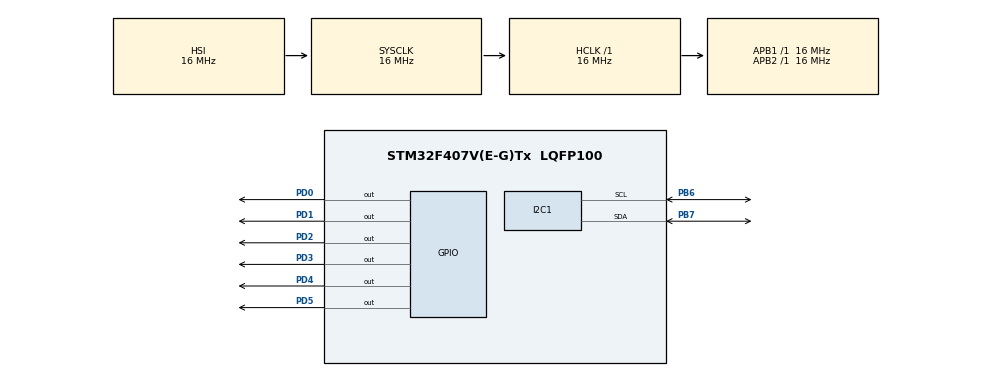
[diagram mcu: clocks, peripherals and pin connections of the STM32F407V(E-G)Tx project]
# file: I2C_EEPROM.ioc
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Mcu.Family=STM32F4
Mcu.Name=STM32F407V(E-G)Tx
Mcu.Package=LQFP100
NVIC.PriorityGroup=NVIC_PRIORITYGROUP_4
PB6.GPIO_Pu=GPIO_PULLUP
PB6.Mode=I2C
PB6.Signal=I2C1_SCL
PB7.GPIO_Pu=GPIO_PULLUP
PB7.Mode=I2C
PB7.Signal=I2C1_SDA
PD0.Signal=GPIO_Output
PD1.Signal=GPIO_Output
PD2.Signal=GPIO_Output
PD3.Signal=GPIO_Output
PD4.Signal=GPIO_Output
PD5.Signal=GPIO_Output
ProjectManager.HeapSize=0x200
ProjectManager.StackSize=0x400
ProjectManager.TargetToolchain=STM32CubeIDE
RCC.AHBFreq_Value=16000000
RCC.APB1Freq_Value=16000000
RCC.APB2Freq_Value=16000000
RCC.CortexFreq_Value=16000000
RCC.HSE_VALUE=25000000
RCC.HSI_VALUE=16000000
RCC.LSE_VALUE=32768
RCC.SYSCLKFreq_VALUE=16000000
RCC.VCOOutputFreq_Value=192000000
board=custom

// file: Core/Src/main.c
/* USER CODE BEGIN Header */
/**
  ******************************************************************************
  * @file           : main.c
  * @brief          : Main program body
  ******************************************************************************
  * @attention
  *
  * Copyright (c) 2025 STMicroelectronics.
  * All rights reserved.
  *
  * This software is licensed under terms that can be found in the LICENSE file
  * in the root directory of this software component.
  * If no LICENSE file comes with this software, it is provided AS-IS.
  *
  ******************************************************************************
  */
/* USER CODE END Header */
#include "main.h"

/* USER CODE BEGIN PM */
#define EEPROM_I2C_ADDRESS  (0x50 << 1)  // 7-bit address shifted for HAL
/* USER CODE END PM */

I2C_HandleTypeDef hi2c1;

void SystemClock_Config(void);
static void MX_GPIO_Init(void);
static void MX_I2C1_Init(void);

/* USER CODE BEGIN 0 */
// Define LCD pins (Modify if using different GPIO)
#define RS_PIN     GPIO_PIN_1
#define RS_PORT    GPIOD
#define EN_PIN     GPIO_PIN_0
#define EN_PORT    GPIOD
#define D4_PIN     GPIO_PIN_2
#define D5_PIN     GPIO_PIN_3
#define D6_PIN     GPIO_PIN_4
#define D7_PIN     GPIO_PIN_5
#define DATA_PORT  GPIOD

char buffer[16];
void LCD_EnablePulse(void);
void LCD_Send4Bits(uint8_t data);
void LCD_Command(uint8_t cmd);

// Initialize LCD
void LCD_Init(void) {
    HAL_Delay(20); // Wait for power stabilization

    LCD_Command(0x02); // Set 4-bit mode
    LCD_Command(0x28); // 2-line, 5x8 matrix
    LCD_Command(0x0C); // Display ON, Cursor OFF
    LCD_Command(0x06); // Auto increment cursor
    LCD_Command(0x01); // Clear display
    HAL_Delay(2);
}

// Send command to LCD
void LCD_Command(uint8_t cmd) {
    HAL_GPIO_WritePin(RS_PORT, RS_PIN, GPIO_PIN_RESET); // RS = 0 (Command mode)

    LCD_Send4Bits(cmd >> 4); // Send upper nibble
    LCD_Send4Bits(cmd);      // Send lower nibble
}

// Send character to LCD
void LCD_Char(uint8_t data) {
    HAL_GPIO_WritePin(RS_PORT, RS_PIN, GPIO_PIN_SET); // RS = 1 (Data mode)

    LCD_Send4Bits(data >> 4); // Send upper nibble
    LCD_Send4Bits(data);      // Send lower nibble
}

// Send string to LCD
void LCD_String(char *str) {
    while (*str) {
        LCD_Char(*str++);
    }
}

// Set cursor position
void LCD_SetCursor(uint8_t row, uint8_t col) {
    uint8_t pos = (row == 0) ? (0x80 + col) : (0xC0 + col);
    LCD_Command(pos);
}

// Clear LCD display
void LCD_Clear(void) {
    LCD_Command(0x01);
    HAL_Delay(2);
}

// Send 4-bit data
void LCD_Send4Bits(uint8_t data) {
    HAL_GPIO_WritePin(DATA_PORT, D4_PIN, (data >> 0) & 0x01);
    HAL_GPIO_WritePin(DATA_PORT, D5_PIN, (data >> 1) & 0x01);
    HAL_GPIO_WritePin(DATA_PORT, D6_PIN, (data >> 2) & 0x01);
    HAL_GPIO_WritePin(DATA_PORT, D7_PIN, (data >> 3) & 0x01);

    LCD_EnablePulse();
}

// Generate Enable Pulse
void LCD_EnablePulse(void) {
    HAL_GPIO_WritePin(EN_PORT, EN_PIN, GPIO_PIN_SET);
    HAL_Delay(1);
    HAL_GPIO_WritePin(EN_PORT, EN_PIN, GPIO_PIN_RESET);
    HAL_Delay(1);
}

// Function to write 1 byte to EEPROM (24C16)
HAL_StatusTypeDef EEPROM_WriteByte(uint8_t memAddress, uint8_t data) {
    uint8_t buffer[2] = {memAddress, data}; // Address + Data
    return HAL_I2C_Master_Transmit(&hi2c1, EEPROM_I2C_ADDRESS, buffer, 2, 100);
}

// Function to read 1 byte from EEPROM (24C16)
HAL_StatusTypeDef EEPROM_ReadByte(uint8_t memAddress, uint8_t *data) {
    if (HAL_I2C_Master_Transmit(&hi2c1, EEPROM_I2C_ADDRESS, &memAddress, 1, 100) != HAL_OK)
        return HAL_ERROR;

    return HAL_I2C_Master_Receive(&hi2c1, EEPROM_I2C_ADDRESS, data, 1, 100);
}

void Read_Display_EEPROM(void) {
    uint8_t eeprom_data;
    char buffer[16];

    LCD_Clear();
    // Read from EEPROM Address 0x0A
    if (EEPROM_ReadByte(0x0A, &eeprom_data) == HAL_OK) {
        // Convert to string and display on LCD
        sprintf(buffer, "Data: 0x%02X", eeprom_data);
        LCD_SetCursor(0, 0);
        LCD_String(buffer);
    } else {
    	LCD_SetCursor(0, 0);
    	LCD_String("Read Error!");
    }
}
/* USER CODE END 0 */

int main(void)
{

  /* MCU Configuration--------------------------------------------------------*/

  /* Reset of all peripherals, Initializes the Flash interface and the Systick. */
  HAL_Init();

  /* Configure the system clock */
  SystemClock_Config();

  /* Initialize all configured peripherals */
  MX_GPIO_Init();
  MX_I2C1_Init();
  /* USER CODE BEGIN 2 */
	LCD_Init(); // Initialize LCD
	LCD_SetCursor(0, 0);
	LCD_String("EEPROM Read...");
	HAL_Delay(1000);

	// Write data to EEPROM
	EEPROM_WriteByte(0x0A, 0x56);
	HAL_Delay(100);  // EEPROM needs delay

	Read_Display_EEPROM(); // Read and show data
	HAL_Delay(1000);  // EEPROM needs delay
  /* USER CODE END 2 */

  /* Infinite loop */
  while (1)
  {

  }
}

void SystemClock_Config(void)
{
  RCC_OscInitTypeDef RCC_OscInitStruct = {0};
  RCC_ClkInitTypeDef RCC_ClkInitStruct = {0};

  /** Configure the main internal regulator output voltage
  */
  __HAL_RCC_PWR_CLK_ENABLE();
  __HAL_PWR_VOLTAGESCALING_CONFIG(PWR_REGULATOR_VOLTAGE_SCALE1);

  /** Initializes the RCC Oscillators according to the specified parameters
  * in the RCC_OscInitTypeDef structure.
  */
  RCC_OscInitStruct.OscillatorType = RCC_OSCILLATORTYPE_HSI;
  RCC_OscInitStruct.HSIState = RCC_HSI_ON;
  RCC_OscInitStruct.HSICalibrationValue = RCC_HSICALIBRATION_DEFAULT;
  RCC_OscInitStruct.PLL.PLLState = RCC_PLL_NONE;
  if (HAL_RCC_OscConfig(&RCC_OscInitStruct) != HAL_OK)
  {
    Error_Handler();
  }

  /** Initializes the CPU, AHB and APB buses clocks
  */
  RCC_ClkInitStruct.ClockType = RCC_CLOCKTYPE_HCLK|RCC_CLOCKTYPE_SYSCLK
                              |RCC_CLOCKTYPE_PCLK1|RCC_CLOCKTYPE_PCLK2;
  RCC_ClkInitStruct.SYSCLKSource = RCC_SYSCLKSOURCE_HSI;
  RCC_ClkInitStruct.AHBCLKDivider = RCC_SYSCLK_DIV1;
  RCC_ClkInitStruct.APB1CLKDivider = RCC_HCLK_DIV1;
  RCC_ClkInitStruct.APB2CLKDivider = RCC_HCLK_DIV1;

  if (HAL_RCC_ClockConfig(&RCC_ClkInitStruct, FLASH_LATENCY_0) != HAL_OK)
  {
    Error_Handler();
  }
}

static void MX_I2C1_Init(void)
{

  hi2c1.Instance = I2C1;
  hi2c1.Init.ClockSpeed = 100000;
  hi2c1.Init.DutyCycle = I2C_DUTYCYCLE_2;
  hi2c1.Init.OwnAddress1 = 0;
  hi2c1.Init.AddressingMode = I2C_ADDRESSINGMODE_7BIT;
  hi2c1.Init.DualAddressMode = I2C_DUALADDRESS_DISABLE;
  hi2c1.Init.OwnAddress2 = 0;
  hi2c1.Init.GeneralCallMode = I2C_GENERALCALL_DISABLE;
  hi2c1.Init.NoStretchMode = I2C_NOSTRETCH_DISABLE;
  if (HAL_I2C_Init(&hi2c1) != HAL_OK)
  {
    Error_Handler();
  }

}

static void MX_GPIO_Init(void)
{
  GPIO_InitTypeDef GPIO_InitStruct = {0};

  /* GPIO Ports Clock Enable */
  __HAL_RCC_GPIOD_CLK_ENABLE();
  __HAL_RCC_GPIOB_CLK_ENABLE();

  /*Configure GPIO pin Output Level */
  HAL_GPIO_WritePin(GPIOD, GPIO_PIN_0|GPIO_PIN_1|GPIO_PIN_2|GPIO_PIN_3
                          |GPIO_PIN_4|GPIO_PIN_5, GPIO_PIN_RESET);

  /*Configure GPIO pins : PD0 PD1 PD2 PD3
                           PD4 PD5 */
  GPIO_InitStruct.Pin = GPIO_PIN_0|GPIO_PIN_1|GPIO_PIN_2|GPIO_PIN_3
                          |GPIO_PIN_4|GPIO_PIN_5;
  GPIO_InitStruct.Mode = GPIO_MODE_OUTPUT_PP;
  GPIO_InitStruct.Pull = GPIO_NOPULL;
  GPIO_InitStruct.Speed = GPIO_SPEED_FREQ_LOW;
  HAL_GPIO_Init(GPIOD, &GPIO_InitStruct);

}

void Error_Handler(void)
{
  __disable_irq();
  while (1)
  {
  }
}
